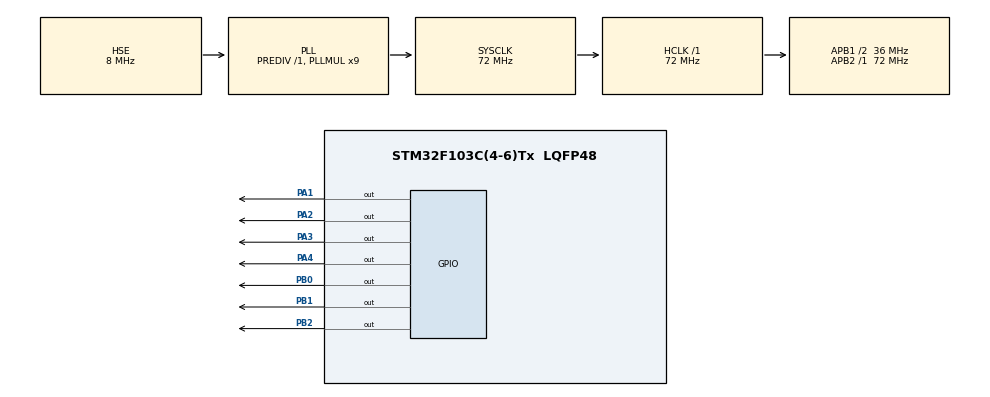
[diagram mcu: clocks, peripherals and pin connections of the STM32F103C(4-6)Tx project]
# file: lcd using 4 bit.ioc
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Mcu.Family=STM32F1
Mcu.Name=STM32F103C(4-6)Tx
Mcu.Package=LQFP48
NVIC.PriorityGroup=NVIC_PRIORITYGROUP_4
PA1.Signal=GPIO_Output
PA13.Mode=Serial_Wire
PA13.Signal=SYS_JTMS-SWDIO
PA14.Mode=Serial_Wire
PA14.Signal=SYS_JTCK-SWCLK
PA2.Signal=GPIO_Output
PA3.Signal=GPIO_Output
PA4.Signal=GPIO_Output
PB0.Signal=GPIO_Output
PB1.Signal=GPIO_Output
PB2.Signal=GPIO_Output
PD0-OSC_IN.Mode=HSE-External-Oscillator
PD0-OSC_IN.Signal=RCC_OSC_IN
PD1-OSC_OUT.Mode=HSE-External-Oscillator
PD1-OSC_OUT.Signal=RCC_OSC_OUT
ProjectManager.HeapSize=0x200
ProjectManager.StackSize=0x400
ProjectManager.TargetToolchain=STM32CubeIDE
RCC.AHBFreq_Value=72000000
RCC.APB1CLKDivider=RCC_HCLK_DIV2
RCC.APB1Freq_Value=36000000
RCC.APB1TimFreq_Value=72000000
RCC.APB2Freq_Value=72000000
RCC.APB2TimFreq_Value=72000000
RCC.HCLKFreq_Value=72000000
RCC.PLLMUL=RCC_PLL_MUL9
RCC.PLLSourceVirtual=RCC_PLLSOURCE_HSE
RCC.SYSCLKFreq_VALUE=72000000
RCC.SYSCLKSource=RCC_SYSCLKSOURCE_PLLCLK
RCC.USBFreq_Value=72000000
board=custom

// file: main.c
/* USER CODE BEGIN Header */
/**
  ******************************************************************************
  * @file           : main.c
  * @brief          : Main program body
  ******************************************************************************
  * @attention
  *
  * Copyright (c) 2026 STMicroelectronics.
  * All rights reserved.
  *
  * This software is licensed under terms that can be found in the LICENSE file
  * in the root directory of this software component.
  * If no LICENSE file comes with this software, it is provided AS-IS.
  *
  ******************************************************************************
  */
/* USER CODE END Header */
#include "main.h"

/* USER CODE BEGIN PV */
void lcd_enable()
{
	HAL_GPIO_WritePin(GPIOB, GPIO_PIN_2, GPIO_PIN_SET);
	HAL_Delay(10);
	HAL_GPIO_WritePin(GPIOB, GPIO_PIN_2, GPIO_PIN_RESET);
	HAL_Delay(10);
}
void seprate(uint8_t a)
{
	HAL_GPIO_WritePin(GPIOA, GPIO_PIN_1, (a & 1<<0)? GPIO_PIN_SET : GPIO_PIN_RESET);
	HAL_GPIO_WritePin(GPIOA, GPIO_PIN_2, (a & 1<<1)? GPIO_PIN_SET : GPIO_PIN_RESET);
	HAL_GPIO_WritePin(GPIOA, GPIO_PIN_3, (a & 1<<2)? GPIO_PIN_SET : GPIO_PIN_RESET);
	HAL_GPIO_WritePin(GPIOA, GPIO_PIN_4, (a & 1<<3)? GPIO_PIN_SET : GPIO_PIN_RESET);
	lcd_enable();
}
void cmd(uint8_t data)
{
	uint8_t high;
	uint8_t low;
	high = data >>4;
	low = data & 0x0F;
	HAL_GPIO_WritePin(GPIOB, GPIO_PIN_0, GPIO_PIN_RESET);
	seprate(high);
	seprate(low);
}
void dat(uint8_t data)
{
	uint8_t high;
	uint8_t low;
	high = data >>4;
	low = data & 0x0F;
	HAL_GPIO_WritePin(GPIOB, GPIO_PIN_0, GPIO_PIN_SET);
	seprate(high);
	seprate(low);
}
void lcd_init()
{
	HAL_Delay(10);
	seprate(0x03);
	HAL_Delay(5);
	seprate(0x03);
	HAL_Delay(5);
	seprate(0x03);
	HAL_Delay(5);
	seprate(0x02);
	HAL_Delay(5);

	cmd(0x28);
	HAL_Delay(10);

	cmd(0x0C);
	HAL_Delay(10);

	cmd(0x01);
	HAL_Delay(10);

	cmd(0x06);
	HAL_Delay(10);
}
void display(char *str)
{
	while(*str)
	{
		dat(*str++);
	}
}
/* USER CODE END PV */

void SystemClock_Config(void);
static void MX_GPIO_Init(void);

int main(void)
{

  /* MCU Configuration--------------------------------------------------------*/

  /* Reset of all peripherals, Initializes the Flash interface and the Systick. */
  HAL_Init();

  /* Configure the system clock */
  SystemClock_Config();

  /* Initialize all configured peripherals */
  MX_GPIO_Init();
  lcd_init();

  /* Infinite loop */
  while (1)
  {
	  display("hello");
	  HAL_Delay(10);
	  cmd(0x01);
  }
}

void SystemClock_Config(void)
{
  RCC_OscInitTypeDef RCC_OscInitStruct = {0};
  RCC_ClkInitTypeDef RCC_ClkInitStruct = {0};

  /** Initializes the RCC Oscillators according to the specified parameters
  * in the RCC_OscInitTypeDef structure.
  */
  RCC_OscInitStruct.OscillatorType = RCC_OSCILLATORTYPE_HSE;
  RCC_OscInitStruct.HSEState = RCC_HSE_ON;
  RCC_OscInitStruct.HSEPredivValue = RCC_HSE_PREDIV_DIV1;
  RCC_OscInitStruct.HSIState = RCC_HSI_ON;
  RCC_OscInitStruct.PLL.PLLState = RCC_PLL_ON;
  RCC_OscInitStruct.PLL.PLLSource = RCC_PLLSOURCE_HSE;
  RCC_OscInitStruct.PLL.PLLMUL = RCC_PLL_MUL9;
  if (HAL_RCC_OscConfig(&RCC_OscInitStruct) != HAL_OK)
  {
    Error_Handler();
  }

  /** Initializes the CPU, AHB and APB buses clocks
  */
  RCC_ClkInitStruct.ClockType = RCC_CLOCKTYPE_HCLK|RCC_CLOCKTYPE_SYSCLK
                              |RCC_CLOCKTYPE_PCLK1|RCC_CLOCKTYPE_PCLK2;
  RCC_ClkInitStruct.SYSCLKSource = RCC_SYSCLKSOURCE_PLLCLK;
  RCC_ClkInitStruct.AHBCLKDivider = RCC_SYSCLK_DIV1;
  RCC_ClkInitStruct.APB1CLKDivider = RCC_HCLK_DIV2;
  RCC_ClkInitStruct.APB2CLKDivider = RCC_HCLK_DIV1;

  if (HAL_RCC_ClockConfig(&RCC_ClkInitStruct, FLASH_LATENCY_2) != HAL_OK)
  {
    Error_Handler();
  }
}

static void MX_GPIO_Init(void)
{
  GPIO_InitTypeDef GPIO_InitStruct = {0};

  /* GPIO Ports Clock Enable */
  __HAL_RCC_GPIOD_CLK_ENABLE();
  __HAL_RCC_GPIOA_CLK_ENABLE();
  __HAL_RCC_GPIOB_CLK_ENABLE();

  /*Configure GPIO pin Output Level */
  HAL_GPIO_WritePin(GPIOA, GPIO_PIN_1|GPIO_PIN_2|GPIO_PIN_3|GPIO_PIN_4, GPIO_PIN_RESET);

  /*Configure GPIO pin Output Level */
  HAL_GPIO_WritePin(GPIOB, GPIO_PIN_0|GPIO_PIN_1|GPIO_PIN_2, GPIO_PIN_RESET);

  /*Configure GPIO pins : PA1 PA2 PA3 PA4 */
  GPIO_InitStruct.Pin = GPIO_PIN_1|GPIO_PIN_2|GPIO_PIN_3|GPIO_PIN_4;
  GPIO_InitStruct.Mode = GPIO_MODE_OUTPUT_PP;
  GPIO_InitStruct.Pull = GPIO_NOPULL;
  GPIO_InitStruct.Speed = GPIO_SPEED_FREQ_LOW;
  HAL_GPIO_Init(GPIOA, &GPIO_InitStruct);

  /*Configure GPIO pins : PB0 PB1 PB2 */
  GPIO_InitStruct.Pin = GPIO_PIN_0|GPIO_PIN_1|GPIO_PIN_2;
  GPIO_InitStruct.Mode = GPIO_MODE_OUTPUT_PP;
  GPIO_InitStruct.Pull = GPIO_NOPULL;
  GPIO_InitStruct.Speed = GPIO_SPEED_FREQ_LOW;
  HAL_GPIO_Init(GPIOB, &GPIO_InitStruct);

}

void Error_Handler(void)
{
  __disable_irq();
  while (1)
  {
  }
}
